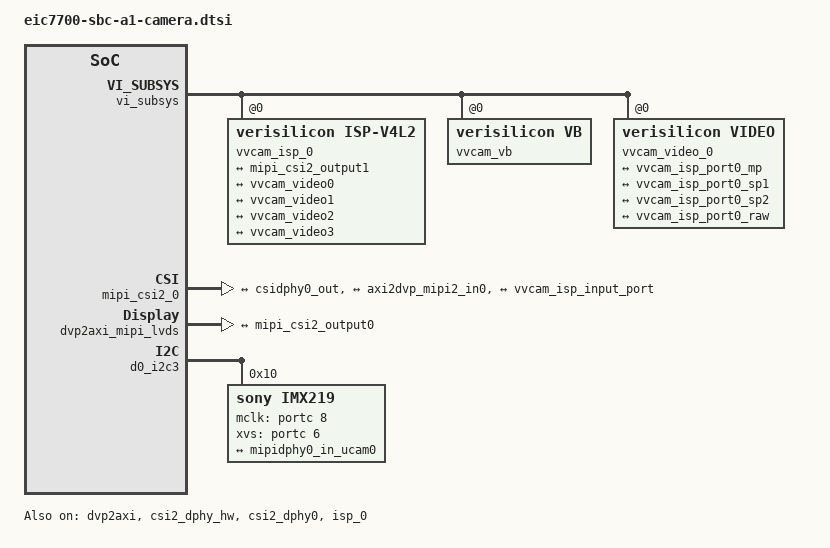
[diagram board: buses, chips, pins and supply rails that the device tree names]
&vi_subsys {
	board_compat = "eic7700,dvb_vi";
	eswin,isp_dvp0_hor = <3280>;
	eswin,isp_dvp0_ver = <2464>;
	phy_mode = <2>;
	vvcam_isp_0: vvcam_isp@0 {
		compatible = "verisilicon,isp-v4l2";
		id = <0>;
		status = "okay";
		dma-noncoherent;
		ports {
			#address-cells = <1>;
			#size-cells = <0>;

			port@0 {
				#address-cells = <1>;
				#size-cells = <0>;
				reg = <0>;
				vvcam_isp_input_port: endpoint@0 {
					remote-endpoint = <&mipi_csi2_output1>;
				};
			};

			port@1 {
				reg = <1>;
				vvcam_isp_port0_mp: endpoint {
					remote-endpoint = <&vvcam_video0>;
				};
			};

			port@2 {
				reg = <2>;
				vvcam_isp_port0_sp1: endpoint {
					remote-endpoint = <&vvcam_video1>;
				};
			};

			port@3 {
				reg = <3>;
				vvcam_isp_port0_sp2: endpoint {
					remote-endpoint = <&vvcam_video2>;
				};
			};

			port@4 {
				reg = <4>;
				vvcam_isp_port0_raw: endpoint {
					remote-endpoint = <&vvcam_video3>;
				};
			};
		};
	};

	vvcam_vb: vvcam-vb@0 {
		compatible = "verisilicon,vb";
		status = "okay";
		dma-noncoherent;
		dma-ranges = <0x0 0x20000000 0x0 0x80000000 0x0 0x40000000>;
		iommus = <&smmu0 WIN2030_SID_ISP0>;
	};

	vvcam_video_0: vvcam_video@0 {
		compatible = "verisilicon,video";
		id = <0>;
		status = "okay";
		dma-noncoherent;
		dma-ranges = <0x0 0x20000000 0x0 0x80000000 0x0 0x40000000>;
		iommus = <&smmu0 WIN2030_SID_ISP0>;

		ports {
			#address-cells = <1>;
			#size-cells = <0>;

			port@0 {
				reg = <0>;
				vvcam_video0: endpoint {
					remote-endpoint = <&vvcam_isp_port0_mp>;
				};
			};

			port@1 {
				reg = <1>;
				vvcam_video1: endpoint {
					remote-endpoint = <&vvcam_isp_port0_sp1>;
				};
			};

			port@2 {
				reg = <2>;
				vvcam_video2: endpoint {
					remote-endpoint = <&vvcam_isp_port0_sp2>;
				};
			};

			port@3 {
				reg = <3>;
				vvcam_video3: endpoint {
					remote-endpoint = <&vvcam_isp_port0_raw>;
				};
			};
		};
	};
};

&mipi_csi2_0 {
	num_lanes = <2>;
	status = "okay";
	ports {
		#address-cells = <1>;
		#size-cells = <0>;

		port@0 {
			reg = <0>;
			#address-cells = <1>;
			#size-cells = <0>;

			mipi0_csi2_input: endpoint@0 {
				remote-endpoint = <&csidphy0_out>;
			};
		};

		port@1 {
			reg = <1>;
			#address-cells = <1>;
			#size-cells = <0>;

			mipi_csi2_output0: endpoint@1 {
				remote-endpoint = <&axi2dvp_mipi2_in0>;
			};
		};
		port@2 {
			reg = <2>;
			#address-cells = <1>;
			#size-cells = <0>;

			mipi_csi2_output1: endpoint@2 {
				remote-endpoint = <&vvcam_isp_input_port>;
			};
		};
	};
};


&dvp2axi {
	status = "okay";
};

&dvp2axi_mipi_lvds {
	status = "okay";
	dvp2axi_id = <0>;
	port@0 {
		axi2dvp_mipi2_in0: endpoint@0 {
			remote-endpoint = <&mipi_csi2_output0>;
		};
	};
};


&csi2_dphy_hw {
	lanes = <1 2>;
	status = "okay";
};

&csi2_dphy0 {
	status = "okay";
	ports {
		#address-cells = <1>;
		#size-cells = <0>;

		port@0 {
			reg = <0>;
			#address-cells = <1>;
			#size-cells = <0>;

			mipidphy0_in_ucam0: endpoint@0 {
				reg = <0>;
				remote-endpoint = <&imx219_out0>;
				data-lanes = <1 2>;
			};
		};

		port@1 {
			reg = <1>;
			#address-cells = <1>;
			#size-cells = <0>;

			csidphy0_out: endpoint@1 {
				reg = <1>;
				remote-endpoint = <&mipi0_csi2_input>;
			};
		};
	};
};


&d0_i2c3 {
	/* mipi csi0/csi1 */
	status = "okay";
	imx219: imx219@10 {
			compatible = "sony,imx219";
			status = "okay";
			address-cells = <1>;
			size-cells = <0>;
			reg = <0x10>;

			pinctrl-names = "default";
			pinctrl-0 = <&pinctrl_gpio72_default &pinctrl_gpio70_default>;
			mclk-gpios = <&portc 8 GPIO_ACTIVE_HIGH>;  //gpio72
			xvs-gpios = <&portc 6 GPIO_ACTIVE_HIGH>;   //gpio70
			eswin,camera-module-index = <0>;
			eswin,camera-module-facing = "back";
			eswin,camera-module-name = "rpi-camera-v2";
			eswin,camera-module-lens-name = "default";

			port {
				imx219_out0: endpoint {
					remote-endpoint = <&mipidphy0_in_ucam0>;
					data-lanes = <1 2>;
					link-frequencies = /bits/ 64 <456000000>;
				};
			};
		};
};

&isp_0 {
	status = "okay";
};

&isp_1 {
	status = "disabled";
};
